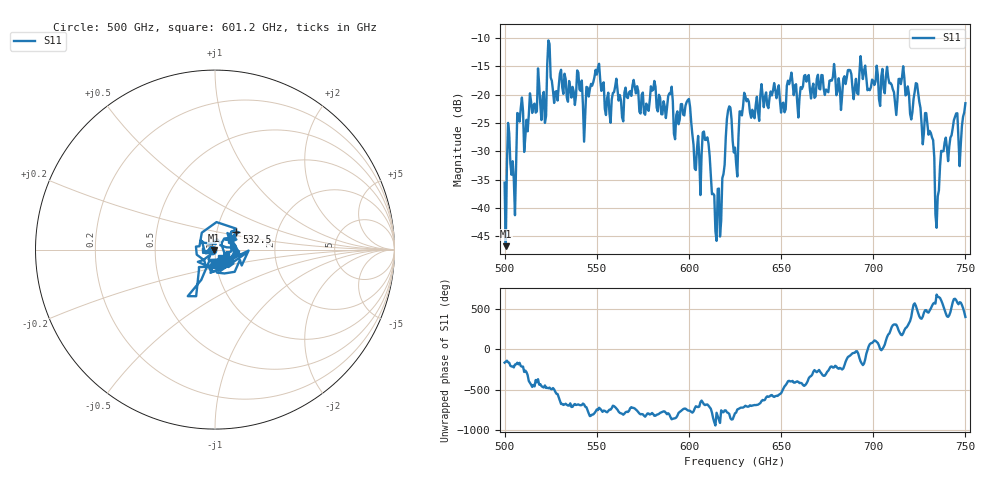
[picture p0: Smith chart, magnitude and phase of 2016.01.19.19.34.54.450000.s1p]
!Created with skrf (http://scikit-rf.org).
# GHz S RI R 50.0
!freq ReS11 ImS11
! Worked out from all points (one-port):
!   401 points, 500 GHz to 750 GHz, reference 50 ohm
!   lowest |S11| = -46.8 dB at 500.6 GHz (marker M1), VSWR 1.01, Z = 49.6 - j0.216 ohm
!   |S11| at or under -10 dB: start of sweep to end of sweep
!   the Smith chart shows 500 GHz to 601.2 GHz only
!   S11 on the Smith chart (normalised r, x): 500 GHz: 0.97, -0.01; 532.5 GHz: 1.24, +0.25; 601.2 GHz: 1.07, -0.10
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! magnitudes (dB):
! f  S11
! 500 GHz  -35.6
! 500.6 GHz  -46.8
! 503.1 GHz  -32.2
! 505 GHz  -35.1
! 508.1 GHz  -24.8
! 521.2 GHz  -19.5
! 524.4 GHz  -11.1
! 527.5 GHz  -19.5
! 531.2 GHz  -18.7
! 532.5 GHz  -16.3
! 550 GHz  -16.5
! 562.5 GHz  -20.1
! 580.6 GHz  -19.1
! 593.8 GHz  -23.0
! 601.2 GHz  -24.9
! 605 GHz  -27.3
! 609.4 GHz  -28.0
! 615.6 GHz  -36.7
! 621.2 GHz  -22.8
! 625 GHz  -29.4
! 630.6 GHz  -20.3
! 656.2 GHz  -17.9
! 687.5 GHz  -15.7
! 718.8 GHz  -18.6
! 729.4 GHz  -25.3
! 735 GHz  -38.0
! 738.1 GHz  -30.0
! 750 GHz  -21.5
